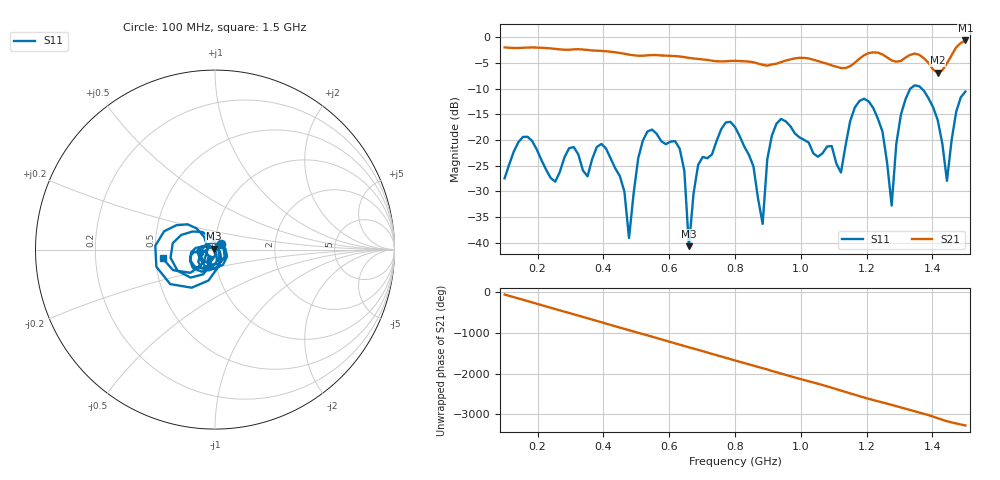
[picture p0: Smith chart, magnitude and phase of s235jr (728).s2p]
! NanoVNA-App
! Date: 2025-09-25 15:09:50
! Start: 100MHz Stop: 1,5GHz Points: 101
! S-Parameter data: F S11 S21 S12 S22
# Hz S RI R 50
!  Frequency  S11_Real  S11_Imag  S21_Real  S21_Imag  S12_Real  S12_Imag  S22_Real  S22_Imag
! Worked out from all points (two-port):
!   101 points, 100 MHz to 1.5 GHz, reference 50 ohm
!   highest |S21| = -0.61 dB at 1.5 GHz (marker M1); lowest = -6.9 dB at 1.416 GHz (marker M2)
!   |S21| within 3 dB of the highest: start of sweep to 603.7 MHz; 1.19 GHz to 1.255 GHz (65.12 MHz wide, 5.33 % of centre) (the widest 2 of 4)
!   lowest |S11| = -40.7 dB at 660 MHz (marker M3), VSWR 1.02, Z = 49.3 + j0.559 ohm
!   |S11| at or under -10 dB: start of sweep to 1.333 GHz; 1.367 GHz to end of sweep
!   S12 and S22 are empty: the file has one direction only
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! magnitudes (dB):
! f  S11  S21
! 100 MHz  -27.5  -2.0
! 156 MHz  -19.4  -2.0
! 338 MHz  -25.9  -2.4
! 408 MHz  -21.7  -2.7
! 478 MHz  -39.1  -3.4
! 520 MHz  -20.1  -3.6
! 576 MHz  -20.2  -3.5
! 632 MHz  -21.7  -3.7
! 660 MHz  -40.7  -4.0
! 688 MHz  -24.9  -4.2
! 800 MHz  -17.5  -4.6
! 884 MHz  -36.4  -5.4
! 926 MHz  -16.8  -5.1
! 1.038 GHz  -22.6  -4.4
! 1.122 GHz  -26.3  -6.0
! 1.206 GHz  -12.5  -3.1
! 1.276 GHz  -32.8  -4.5
! 1.304 GHz  -15.1  -4.6
! 1.332 GHz  -10.0  -3.4
! 1.416 GHz  -16.2  -6.9
! 1.444 GHz  -28.0  -5.1
! 1.5 GHz  -10.6  -0.6
